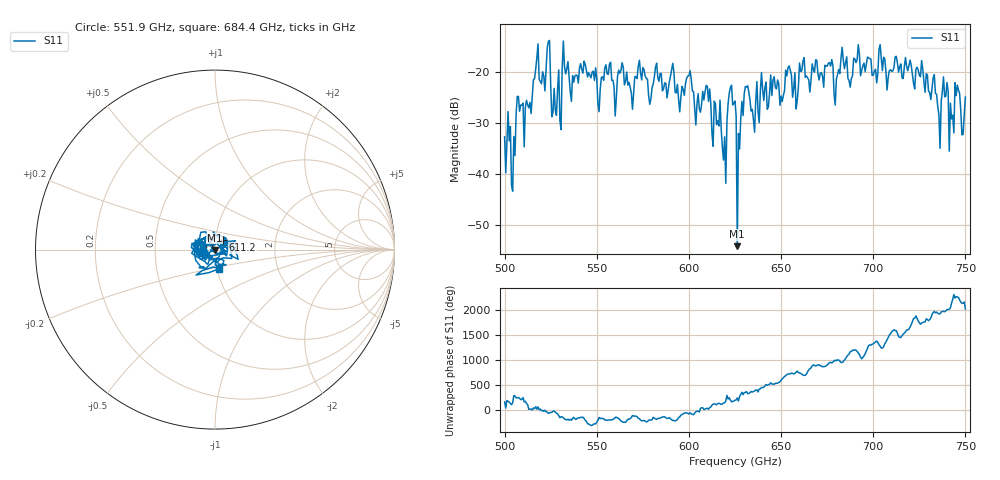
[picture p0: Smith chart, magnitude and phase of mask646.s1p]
!Created with skrf (http://scikit-rf.org).
# GHz S MA R 50.0
!freq magS11 angS11
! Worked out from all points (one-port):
!   401 points, 500 GHz to 750 GHz, reference 50 ohm
!   lowest |S11| = -54.1 dB at 626.2 GHz (marker M1), VSWR 1.00, Z = 49.9 - j0.179 ohm
!   |S11| at or under -10 dB: start of sweep to end of sweep
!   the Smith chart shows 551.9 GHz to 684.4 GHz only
!   S11 on the Smith chart (normalised r, x): 551.9 GHz: 0.87, -0.02; 611.2 GHz: 1.08, +0.12; 684.4 GHz: 1.03, -0.22
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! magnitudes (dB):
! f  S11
! 500 GHz  -32.6
! 505 GHz  -32.6
! 507.5 GHz  -24.7
! 511.9 GHz  -25.5
! 516.9 GHz  -19.4
! 523.8 GHz  -13.9
! 526.9 GHz  -23.1
! 531.2 GHz  -19.0
! 533.1 GHz  -20.3
! 551.9 GHz  -23.3
! 562.5 GHz  -20.2
! 593.8 GHz  -22.4
! 611.2 GHz  -23.3
! 618.8 GHz  -37.2
! 623.1 GHz  -22.5
! 625 GHz  -25.6
! 626.2 GHz  -54.1
! 631.2 GHz  -22.9
! 635 GHz  -29.2
! 656.2 GHz  -24.9
! 684.4 GHz  -19.3
! 687.5 GHz  -22.9
! 718.8 GHz  -19.7
! 735.6 GHz  -28.3
! 739.4 GHz  -24.7
! 742.5 GHz  -29.1
! 745.6 GHz  -22.5
! 750 GHz  -24.8
